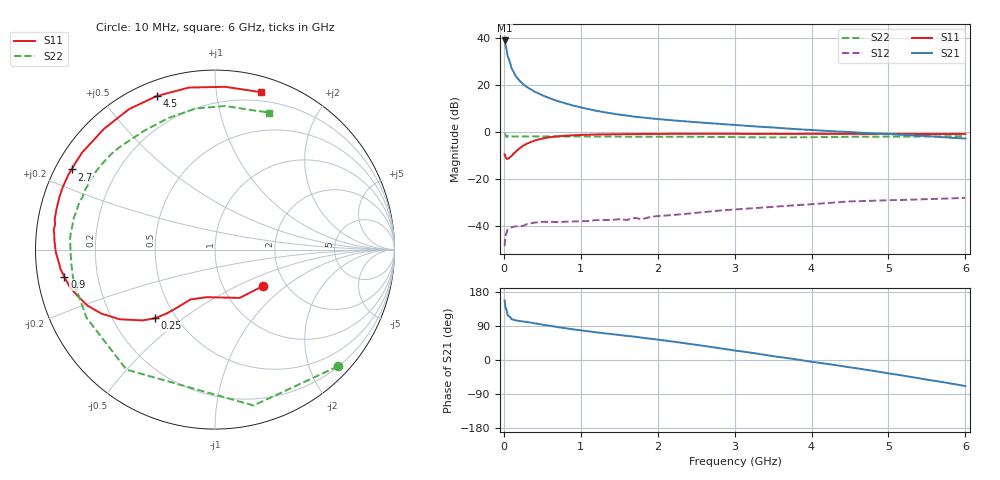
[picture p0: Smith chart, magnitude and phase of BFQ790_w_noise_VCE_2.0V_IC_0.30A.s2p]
! (c) 2015  Infineon Technologies AG, Munich
! Infineon Technologies  Discrete & RF Semiconductors
! BFQ790
! VCE =  2.0 V,  IC = 0.30 A
! Common Emitter S-Parameters:  May 2015
# GHz  S  MA  R  50
!  f  S11  S21  S12  S22
! GHz  MAG  ANG  MAG  ANG  MAG  ANG  MAG  ANG
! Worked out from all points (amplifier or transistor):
!   77 points, 10 MHz to 6 GHz, reference 50 ohm
!   highest |S21| = 39.0 dB at 10 MHz (marker M1)
!   |S21| within 3 dB of that: start of sweep to 29.26 MHz
!   unconditionally stable (mu >= 1): 197.7 MHz to end of sweep
!   at 130 MHz: K = 0.76, MSG = 32.9 dB, |S12| = -40.4 dB
!   at 2.2 GHz: K = 1.32, MAG = 16.8 dB, |S12| = -35.3 dB
!   at 6 GHz: K = 1.06, MAG = 11.1 dB, |S12| = -28.0 dB
!   lowest NFmin = 4.10 dB at 1.5 GHz
!   S11 on the Smith chart (normalised r, x): 10 MHz: 1.53, -0.70; 250 MHz: 0.38, -0.40; 900 MHz: 0.08, -0.09; 2.7 GHz: 0.05, +0.26; 4.5 GHz: 0.07, +0.69; 6 GHz: 0.12, +1.33
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0.01  0.335 -37.5  89.35 157.1  0.0037 67.1  0.9446 -43.5
0.02  0.3022 -63.0  74.18 140.2  0.0061 51.7  0.8948 -76.1
0.05  0.269 -99.9  41.53 117.6  0.0084 26.3  0.8309 -126.4
0.1  0.3096 -116.2  22.92 107.8  0.0093 18.4  0.8103 -152.1
0.15  0.375 -122.3  16.05 104.6  0.0098 19.6  0.8022 -162.6
0.2  0.4449 -127.0  12.6 103.0  0.0098 20.4  0.8066 -168.0
0.25  0.5101 -131.3  10.52 101.6  0.01 17.6  0.8047 -171.6
0.3  0.5657 -135.8  9.06 100.2  0.0109 10.8  0.8043 -174.5
0.4  0.6597 -144.0  7.255 96.8  0.0118 12.9  0.8047 -178.6
0.5  0.7263 -150.6  6.061 93.4  0.0122 12.6  0.8063 178.4
0.6  0.776 -156.3  5.228 90.2  0.0122 13.7  0.8099 175.8
0.7  0.807 -161.3  4.568 86.9  0.0121 14.5  0.809 173.6
0.9  0.8524 -169.7  3.668 80.9  0.0124 12.1  0.8058 170.1
1.1  0.8756 -176.1  3.079 75.7  0.0127 14.1  0.8053 166.7
1.5  0.8992 174.7  2.354 66.0  0.0139 16.4  0.7994 161.0
2.1  0.9127 163.4  1.829 51.2  0.0166 18.0  0.7934 152.1
2.7  0.9156 150.8  1.533 34.3  0.0204 13.0  0.7872 140.1
3.1  0.9133 141.6  1.377 22.4  0.023 7.9  0.776 130.9
4.1  0.9146 119.3  1.08 -7.4  0.0298 -7.4  0.7782 107.2
4.5  0.9149 110.7  1.001 -19.4  0.0333 -15.3  0.7937 97.7
5.1  0.9097 96.6  0.888 -38.3  0.0355 -28.2  0.8003 83.8
6  0.9138 73.7  0.729 -68.9  0.0396 -49.9  0.8208 68.5
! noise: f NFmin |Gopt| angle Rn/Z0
0.45  6.78  0.53  143  0.71
0.9  4.78  0.66  170  0.19
1.5  4.1  0.74  -171  0.11
1.8  4.11  0.76  -166  0.14
2.6  4.26  0.78  -150  0.37
3.5  4.69  0.89  -135  0.75
